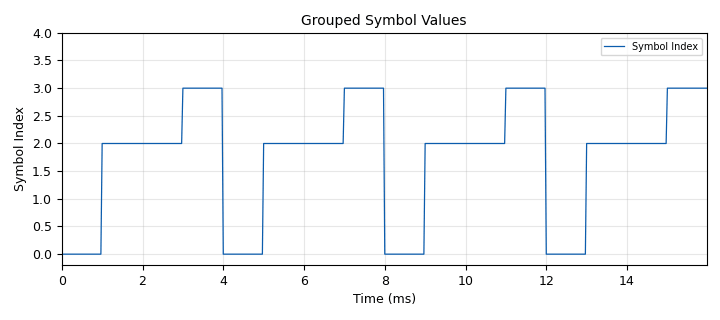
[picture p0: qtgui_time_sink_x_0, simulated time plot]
options:
  parameters:
    author: Dhrubjun
    generate_options: qt_gui
    id: exp3
    output_language: python
    title: ' From Bits to Symbols'
  states: {}

blocks:
- name: bit_rate
  id: variable_qtgui_range
  parameters:
    label: Bit Rate (bit/s)
    start: '500'
    step: '500'
    stop: '4000'
    value: '1000'
  states: {}
- name: samp_rate
  id: variable
  parameters:
    value: '32000'
  states: {}
- name: samples_per_bit
  id: variable
  parameters:
    value: int(samp_rate / bit_rate)
  states: {}
- name: blocks_repack_bits_bb_0
  id: blocks_repack_bits_bb
  parameters:
    endianness: gr.GR_MSB_FIRST
    k: '1'
    l: '2'
  states: {}
- name: blocks_repeat_0
  id: blocks_repeat
  parameters:
    interp: samples_per_bit
    type: float
  states: {}
- name: blocks_throttle2_0
  id: blocks_throttle2
  parameters:
    samples_per_second: samp_rate
    type: float
  states: {}
- name: blocks_uchar_to_float_0
  id: blocks_uchar_to_float
  parameters: {}
  states: {}
- name: blocks_vector_source_x_0
  id: blocks_vector_source_x
  parameters:
    repeat: 'True'
    type: byte
    vector: (1, 0, 1, 1, 0, 0, 1, 0)
  states: {}
- name: qtgui_time_sink_x_0
  id: qtgui_time_sink_x
  parameters:
    grid: 'True'
    label1: Symbol Index
    name: Grouped Symbol Values
    size: '512'
    srate: samp_rate
    type: float
    ylabel: Symbol Index
    ymax: '4'
    ymin: '-0.2'
  states: {}

connections:
- [blocks_repack_bits_bb_0, '0', blocks_uchar_to_float_0, '0']
- [blocks_repeat_0, '0', blocks_throttle2_0, '0']
- [blocks_throttle2_0, '0', qtgui_time_sink_x_0, '0']
- [blocks_uchar_to_float_0, '0', blocks_repeat_0, '0']
- [blocks_vector_source_x_0, '0', blocks_repack_bits_bb_0, '0']

metadata:
  file_format: 1
  grc_version: 3.10.12.0
